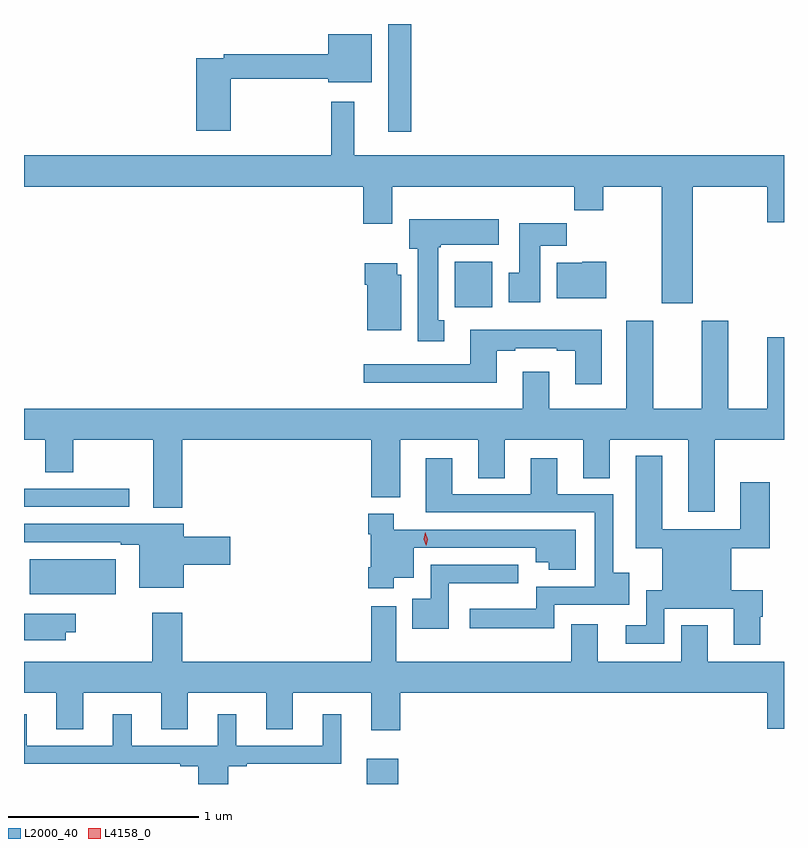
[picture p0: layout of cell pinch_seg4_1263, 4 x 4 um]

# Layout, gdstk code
import gdstk
lib = gdstk.Library(unit=1e-6, precision=1e-09)
def R(c, l, rs):  # rectangles x0, y0, x1, y1
    for r in rs: c.add(gdstk.rectangle(r[:2], r[2:], *l))
def P(c, l, *ps):  # polygons
    for p in ps: c.add(gdstk.Polygon(p, *l))
L2000_40 = (2000, 40)
L4158_0 = (4158, 0)

pinch_seg4_1263 = lib.new_cell('pinch_seg4_1263')
R(pinch_seg4_1263, L2000_40, [(378.683,765.704,378.85,765.838), (376.88,767.163,377.434,767.259), (379.148,768.212,379.345,768.454), (378.797,769.137,378.919,769.704)])
P(pinch_seg4_1263, L2000_40, [(377.969,769.416),(378.482,769.416),(378.482,769.397),(378.709,769.397),(378.709,769.651),(378.482,769.651),(378.482,769.544),(377.932,769.544),(377.932,769.524),(377.786,769.524),(377.786,769.143),(377.969,769.143)],
  [(380.401,768.848),(380.792,768.848),(380.792,768.66),(380.88,768.66),(380.88,769.012),(378.619,769.012),(378.619,769.294),(378.498,769.294),(378.498,769.012),(376.88,769.012),(376.88,768.848),(378.665,768.848),(378.665,768.654),(378.817,768.654),(378.817,768.848),(379.777,768.848),(379.777,768.724),(379.929,768.724),(379.929,768.848),(380.237,768.848),(380.237,768.234),(380.401,768.234)],
  [(379.093,768.146),(379.06,768.146),(379.06,768.529),(379.074,768.529),(379.074,768.542),(379.378,768.542),(379.378,768.676),(378.908,768.676),(378.908,768.522),(378.953,768.522),(378.953,768.033),(379.093,768.033)],
  [(379.597,768.536),(379.736,768.536),(379.736,768.655),(379.487,768.655),(379.487,768.396),(379.43,768.396),(379.43,768.24),(379.597,768.24)],
  [(379.944,768.454),(379.818,768.454),(379.818,768.448),(379.685,768.448),(379.685,768.26),(379.944,768.26)],
  [(378.865,768.384),(378.844,768.384),(378.844,768.445),(378.674,768.445),(378.674,768.332),(378.686,768.332),(378.686,768.092),(378.865,768.092)],
  [(380.051,768.142),(380.051,767.68),(379.645,767.68),(379.645,767.875),(379.505,767.875),(379.505,767.68),(376.88,767.68),(376.88,767.516),(376.991,767.516),(376.991,767.344),(377.139,767.344),(377.139,767.516),(377.561,767.516),(377.561,767.159),(377.714,767.159),(377.714,767.516),(378.707,767.516),(378.707,767.212),(378.859,767.212),(378.859,767.516),(379.271,767.516),(379.271,767.314),(379.411,767.314),(379.411,767.516),(379.823,767.516),(379.823,767.314),(379.963,767.314),(379.963,767.516),(380.375,767.516),(380.375,767.136),(380.515,767.136),(380.515,767.516),(380.88,767.516),(380.88,768.055),(380.792,768.055),(380.792,767.68),(380.587,767.68),(380.587,768.142),(380.447,768.142),(380.447,767.68),(380.191,767.68),(380.191,768.142)],
  [(379.921,768.094),(379.229,768.094),(379.229,767.913),(378.669,767.913),(378.669,767.816),(379.369,767.816),(379.369,767.985),(379.465,767.985),(379.465,767.997),(379.685,767.997),(379.685,767.985),(379.781,767.985),(379.781,767.808),(379.921,767.808)],
  [(380.755,766.584),(380.768,766.584),(380.768,766.725),(380.602,766.725),(380.602,766.945),(380.804,766.945),(380.804,767.293),(380.651,767.293),(380.651,767.044),(380.239,767.044),(380.239,767.431),(380.099,767.431),(380.099,766.945),(380.24,766.945),(380.24,766.725),(380.154,766.725),(380.154,766.539),(380.046,766.539),(380.046,766.443),(380.25,766.443),(380.25,766.626),(380.615,766.626),(380.615,766.437),(380.755,766.437)],
  [(379.671,766.647),(380.065,766.647),(380.065,766.816),(379.98,766.816),(379.98,767.229),(379.687,767.229),(379.687,767.419),(379.547,767.419),(379.547,767.229),(379.135,767.229),(379.135,767.419),(378.995,767.419),(378.995,767.133),(379.884,767.133),(379.884,766.743),(379.575,766.743),(379.575,766.627),(379.227,766.627),(379.227,766.523),(379.671,766.523)],
  [(378.826,766.79),(378.931,766.79),(378.931,766.947),(379.574,766.947),(379.574,766.871),(379.643,766.871),(379.643,766.832),(379.783,766.832),(379.783,767.043),(378.826,767.043),(378.826,767.127),(378.692,767.127),(378.692,767.018),(378.704,767.018),(378.704,766.846),(378.692,766.846),(378.692,766.734),(378.826,766.734)],
  [(377.722,766.859),(377.965,766.859),(377.965,767.006),(377.722,767.006),(377.722,767.073),(376.88,767.073),(376.88,766.977),(377.39,766.977),(377.39,766.964),(377.486,766.964),(377.486,766.736),(377.722,766.736)],
  [(377.364,766.887),(377.261,766.887),(377.261,766.888),(376.91,766.888),(376.91,766.703),(377.364,766.703)],
  [(379.116,766.76),(379.48,766.76),(379.48,766.857),(379.02,766.857),(379.02,766.678),(378.923,766.678),(378.923,766.52),(379.116,766.52)],
  [(378.86,766.184),(380.792,766.184),(380.792,765.996),(380.88,765.996),(380.88,766.348),(380.479,766.348),(380.479,766.54),(380.339,766.54),(380.339,766.348),(379.9,766.348),(379.9,766.546),(379.76,766.546),(379.76,766.348),(378.838,766.348),(378.838,766.639),(378.707,766.639),(378.707,766.348),(377.714,766.348),(377.714,766.606),(377.554,766.606),(377.554,766.348),(376.88,766.348),(376.88,766.184),(377.051,766.184),(377.051,765.991),(377.191,765.991),(377.191,766.184),(377.603,766.184),(377.603,765.991),(377.743,765.991),(377.743,766.184),(378.155,766.184),(378.155,765.991),(378.295,765.991),(378.295,766.184),(378.707,766.184),(378.707,765.987),(378.86,765.987)],
  [(377.101,766.502),(377.152,766.502),(377.152,766.599),(376.88,766.599),(376.88,766.46),(377.101,766.46)],
  [(377.956,765.798),(378.052,765.798),(378.052,765.81),(378.55,765.81),(378.55,766.072),(378.452,766.072),(378.452,765.906),(377.998,765.906),(377.998,766.072),(377.9,766.072),(377.9,765.906),(377.446,765.906),(377.446,766.072),(377.348,766.072),(377.348,765.906),(376.894,765.906),(376.894,766.072),(376.88,766.072),(376.88,765.81),(377.702,765.81),(377.702,765.798),(377.798,765.798),(377.798,765.704),(377.956,765.704)])
P(pinch_seg4_1263, L4158_0, [(378.996,766.958),(378.984,766.992),(378.992,767.028),(378.992,767.028),(378.992,767.028),(379.004,766.993),(378.997,766.958),(378.997,766.958)])

lib.write_gds('pinch_seg4_1263.gds')
